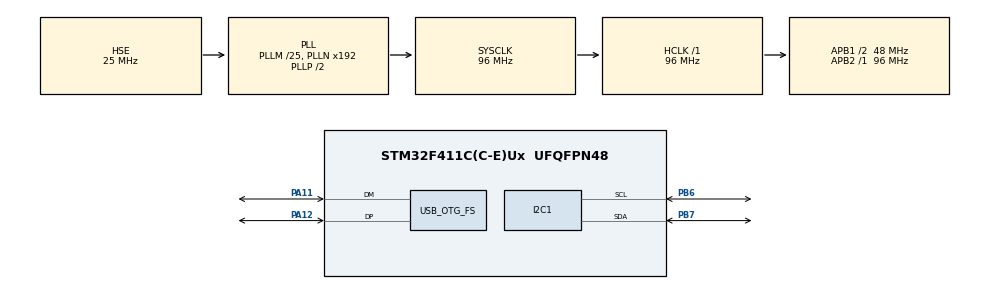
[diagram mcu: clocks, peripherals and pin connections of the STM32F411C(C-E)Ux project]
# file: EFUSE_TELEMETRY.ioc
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Mcu.Family=STM32F4
Mcu.Name=STM32F411C(C-E)Ux
Mcu.Package=UFQFPN48
NVIC.OTG_FS_IRQn=true\:0\:0\:false\:false\:true\:false\:true\:true
NVIC.PriorityGroup=NVIC_PRIORITYGROUP_4
PA11.Mode=Device_Only
PA11.Signal=USB_OTG_FS_DM
PA12.Mode=Device_Only
PA12.Signal=USB_OTG_FS_DP
PB6.Mode=I2C
PB6.Signal=I2C1_SCL
PB7.Mode=I2C
PB7.Signal=I2C1_SDA
PH0\ -\ OSC_IN.Mode=HSE-External-Oscillator
PH0\ -\ OSC_IN.Signal=RCC_OSC_IN
PH1\ -\ OSC_OUT.Mode=HSE-External-Oscillator
PH1\ -\ OSC_OUT.Signal=RCC_OSC_OUT
ProjectManager.HeapSize=0x200
ProjectManager.StackSize=0x400
ProjectManager.TargetToolchain=CMake
RCC.48MHZClocksFreq_Value=48000000
RCC.AHBFreq_Value=96000000
RCC.APB1CLKDivider=RCC_HCLK_DIV2
RCC.APB1Freq_Value=48000000
RCC.APB1TimFreq_Value=96000000
RCC.APB2Freq_Value=96000000
RCC.APB2TimFreq_Value=96000000
RCC.CortexFreq_Value=96000000
RCC.EnbaleCSS=true
RCC.HCLKFreq_Value=96000000
RCC.HSE_VALUE=25000000
RCC.HSI_VALUE=16000000
RCC.LSE_VALUE=32768
RCC.PLLM=25
RCC.SYSCLKFreq_VALUE=96000000
RCC.SYSCLKSource=RCC_SYSCLKSOURCE_PLLCLK
RCC.VCOOutputFreq_Value=192000000
USB_DEVICE.CLASS_NAME_FS=CDC
USB_DEVICE.VirtualMode=Cdc
USB_DEVICE.VirtualModeFS=Cdc_FS
USB_OTG_FS.VirtualMode=Device_Only
VP_USB_DEVICE_VS_USB_DEVICE_CDC_FS.Mode=CDC_FS
board=custom

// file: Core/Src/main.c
/* USER CODE BEGIN Header */
/**
  ******************************************************************************
  * @file           : main.c
  * @brief          : Main program body
  ******************************************************************************
  * @attention
  *
  * Copyright (c) 2026 STMicroelectronics.
  * All rights reserved.
  *
  * This software is licensed under terms that can be found in the LICENSE file
  * in the root directory of this software component.
  * If no LICENSE file comes with this software, it is provided AS-IS.
  *
  ******************************************************************************
  */
/* USER CODE END Header */
#include "main.h"
#include "i2c.h"
#include "usb_device.h"
#include "gpio.h"

/* USER CODE BEGIN Includes */
#include <stdio.h>
#include "ltc4215.h"
#include "usbd_cdc_if.h"
/* USER CODE END Includes */

void SystemClock_Config(void);

int main(void)
{

  /* MCU Configuration--------------------------------------------------------*/

  /* Reset of all peripherals, Initializes the Flash interface and the Systick. */
  HAL_Init();

  /* Configure the system clock */
  SystemClock_Config();

  /* Initialize all configured peripherals */
  MX_GPIO_Init();
  MX_I2C1_Init();
  MX_USB_DEVICE_Init();
  /* USER CODE BEGIN 2 */
  /* Clear any fault bits latched before the MCU came up. */
  ltc4215_clear_faults(&hi2c1);
  uint32_t last_poll_tick = HAL_GetTick();
  /* USER CODE END 2 */

  /* Infinite loop */
  while (1)
  {

    /* USER CODE BEGIN 3 */
    if ((HAL_GetTick() - last_poll_tick) >= 500U) {
      last_poll_tick = HAL_GetTick();

      LTC4215_Status status;
      LTC4215_Fault fault;
      LTC4215_Telemetry telemetry;
      char line[96];
      int len;

      if (ltc4215_read_status(&hi2c1, &status) == HAL_OK &&
          ltc4215_read_fault(&hi2c1, &fault) == HAL_OK &&
          ltc4215_read_telemetry(&hi2c1, &telemetry) == HAL_OK) {
        len = snprintf(line, sizeof(line),
                        "I=%lumA Vout=%lumV FET=%d PGOOD=%d OC=%d UV=%d OV=%d\r\n",
                        (unsigned long)telemetry.current_ma,
                        (unsigned long)telemetry.source_mv,
                        status.fet_on ? 1 : 0,
                        status.power_bad ? 0 : 1,
                        fault.overcurrent_occurred ? 1 : 0,
                        fault.undervoltage_occurred ? 1 : 0,
                        fault.overvoltage_occurred ? 1 : 0);
      } else {
        len = snprintf(line, sizeof(line), "LTC4215 I2C read failed\r\n");
      }
      if (len > 0) {
        CDC_Transmit_FS((uint8_t *)line, (uint16_t)len);
      }
    }
  }
  /* USER CODE END 3 */
}

void SystemClock_Config(void)
{
  RCC_OscInitTypeDef RCC_OscInitStruct = {0};
  RCC_ClkInitTypeDef RCC_ClkInitStruct = {0};

  /** Configure the main internal regulator output voltage
  */
  __HAL_RCC_PWR_CLK_ENABLE();
  __HAL_PWR_VOLTAGESCALING_CONFIG(PWR_REGULATOR_VOLTAGE_SCALE1);

  /** Initializes the RCC Oscillators according to the specified parameters
  * in the RCC_OscInitTypeDef structure.
  */
  RCC_OscInitStruct.OscillatorType = RCC_OSCILLATORTYPE_HSE;
  RCC_OscInitStruct.HSEState = RCC_HSE_ON;
  RCC_OscInitStruct.PLL.PLLState = RCC_PLL_ON;
  RCC_OscInitStruct.PLL.PLLSource = RCC_PLLSOURCE_HSE;
  RCC_OscInitStruct.PLL.PLLM = 25;
  RCC_OscInitStruct.PLL.PLLN = 192;
  RCC_OscInitStruct.PLL.PLLP = RCC_PLLP_DIV2;
  RCC_OscInitStruct.PLL.PLLQ = 4;
  if (HAL_RCC_OscConfig(&RCC_OscInitStruct) != HAL_OK)
  {
    Error_Handler();
  }

  /** Initializes the CPU, AHB and APB buses clocks
  */
  RCC_ClkInitStruct.ClockType = RCC_CLOCKTYPE_HCLK|RCC_CLOCKTYPE_SYSCLK
                              |RCC_CLOCKTYPE_PCLK1|RCC_CLOCKTYPE_PCLK2;
  RCC_ClkInitStruct.SYSCLKSource = RCC_SYSCLKSOURCE_PLLCLK;
  RCC_ClkInitStruct.AHBCLKDivider = RCC_SYSCLK_DIV1;
  RCC_ClkInitStruct.APB1CLKDivider = RCC_HCLK_DIV2;
  RCC_ClkInitStruct.APB2CLKDivider = RCC_HCLK_DIV1;

  if (HAL_RCC_ClockConfig(&RCC_ClkInitStruct, FLASH_LATENCY_3) != HAL_OK)
  {
    Error_Handler();
  }

  /** Enables the Clock Security System
  */
  HAL_RCC_EnableCSS();
}

void Error_Handler(void)
{
  __disable_irq();
  while (1)
  {
  }
}
